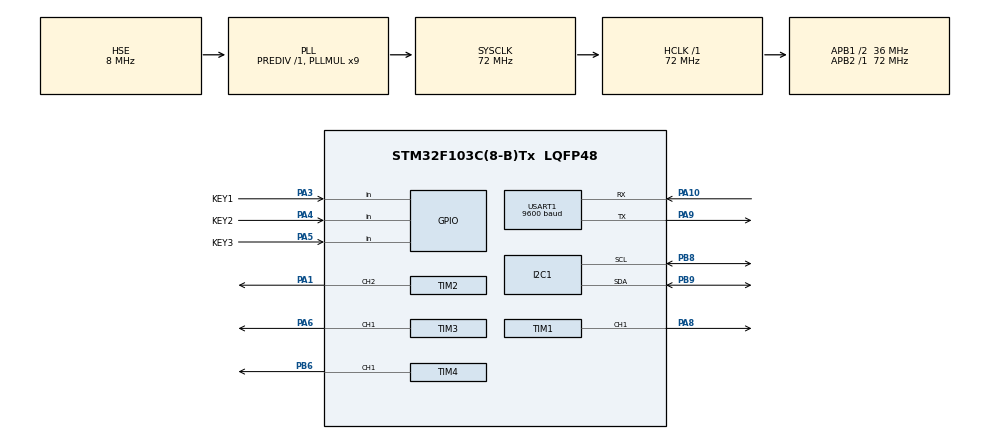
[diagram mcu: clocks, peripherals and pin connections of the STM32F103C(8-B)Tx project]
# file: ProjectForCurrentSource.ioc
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Mcu.Family=STM32F1
Mcu.Name=STM32F103C(8-B)Tx
Mcu.Package=LQFP48
NVIC.PriorityGroup=NVIC_PRIORITYGROUP_4
NVIC.TIM2_IRQn=true\:0\:0\:false\:false\:true\:true\:true\:true
NVIC.USART1_IRQn=true\:0\:0\:false\:false\:true\:true\:true\:true
PA1.Signal=S_TIM2_CH2
PA10.Mode=Asynchronous
PA10.Signal=USART1_RX
PA13.Mode=Serial_Wire
PA13.Signal=SYS_JTMS-SWDIO
PA14.Mode=Serial_Wire
PA14.Signal=SYS_JTCK-SWCLK
PA3.GPIO_Label=KEY1
PA3.GPIO_PuPd=GPIO_PULLDOWN
PA3.Signal=GPIO_Input
PA4.GPIO_Label=KEY2
PA4.GPIO_PuPd=GPIO_PULLDOWN
PA4.Signal=GPIO_Input
PA5.GPIO_Label=KEY3
PA5.GPIO_PuPd=GPIO_PULLDOWN
PA5.Signal=GPIO_Input
PA6.Signal=S_TIM3_CH1
PA8.Signal=S_TIM1_CH1
PA9.Mode=Asynchronous
PA9.Signal=USART1_TX
PB6.Signal=S_TIM4_CH1
PB8.Mode=I2C
PB8.Signal=I2C1_SCL
PB9.Mode=I2C
PB9.Signal=I2C1_SDA
PD0-OSC_IN.Mode=HSE-External-Oscillator
PD0-OSC_IN.Signal=RCC_OSC_IN
PD1-OSC_OUT.Mode=HSE-External-Oscillator
PD1-OSC_OUT.Signal=RCC_OSC_OUT
ProjectManager.HeapSize=0x200
ProjectManager.StackSize=0x400
ProjectManager.TargetToolchain=MDK-ARM V5.32
RCC.AHBFreq_Value=72000000
RCC.APB1CLKDivider=RCC_HCLK_DIV2
RCC.APB1Freq_Value=36000000
RCC.APB1TimFreq_Value=72000000
RCC.APB2Freq_Value=72000000
RCC.APB2TimFreq_Value=72000000
RCC.HCLKFreq_Value=72000000
RCC.PLLMUL=RCC_PLL_MUL9
RCC.PLLSourceVirtual=RCC_PLLSOURCE_HSE
RCC.SYSCLKFreq_VALUE=72000000
RCC.SYSCLKSource=RCC_SYSCLKSOURCE_PLLCLK
RCC.USBFreq_Value=72000000
SH.S_TIM1_CH1.0=TIM1_CH1,PWM Generation1 CH1
SH.S_TIM2_CH2.0=TIM2_CH2,PWM Generation2 CH2
SH.S_TIM3_CH1.0=TIM3_CH1,PWM Generation1 CH1
SH.S_TIM4_CH1.0=TIM4_CH1,PWM Generation1 CH1
TIM1.Channel-PWM\ Generation1\ CH1=TIM_CHANNEL_1
TIM1.Period=100-1
TIM1.Prescaler=720-1
TIM2.Channel-PWM\ Generation2\ CH2=TIM_CHANNEL_2
TIM2.Period=100-1
TIM2.Prescaler=720-1
TIM3.Channel-PWM\ Generation1\ CH1=TIM_CHANNEL_1
TIM3.Period=100-1
TIM3.Prescaler=720-1
TIM4.Channel-PWM\ Generation1\ CH1=TIM_CHANNEL_1
TIM4.Period=100-1
TIM4.Prescaler=720-1
USART1.BaudRate=9600
USART1.VirtualMode=VM_ASYNC
VP_TIM1_VS_ClockSourceINT.Mode=Internal
VP_TIM2_VS_ClockSourceINT.Mode=Internal
VP_TIM3_VS_ClockSourceINT.Mode=Internal
VP_TIM4_VS_ClockSourceINT.Mode=Internal
board=custom

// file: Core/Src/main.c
/* USER CODE BEGIN Header */
/**
  ******************************************************************************
  * @file           : main.c
  * @brief          : Main program body
  ******************************************************************************
  * @attention
  *
  * Copyright (c) 2025 STMicroelectronics.
  * All rights reserved.
  *
  * This software is licensed under terms that can be found in the LICENSE file
  * in the root directory of this software component.
  * If no LICENSE file comes with this software, it is provided AS-IS.
  *
  ******************************************************************************
  */
/* USER CODE END Header */
#include "main.h"
#include "i2c.h"
#include "tim.h"
#include "usart.h"
#include "gpio.h"

/* USER CODE BEGIN Includes */
#include "oled.h"
#include "stdio.h"
#include <string.h>
#include "flash_storage.h"
/* USER CODE END Includes */

/* USER CODE BEGIN PTD */
typedef struct {
    uint8_t modeFlag;             // 电流/电压模式�??0=电流�??1=电压
    uint8_t channelFlag;          // 当前选择的�?�道�??0~3表示�??1到第4个�?�道
    uint8_t inSettingsPage;       // 是否在设置页面，0：不在，1：在设置页面
    uint8_t settingFlag;          // 当前高亮设置项，0:电流/电压切换�??1:电流/电压值，2:PWM频率�??3:PWM占空比，4:满量程补�??
		uint8_t isSettingFlag;
} UIState_t;

typedef struct {
    uint8_t mode;                     // 电流/电压模式
    uint16_t current_value;           // 电流�?? (对应A)
    uint16_t voltage_value;           // 电压�??
    uint16_t pwm_frequency;           // PWM频率
    uint8_t pwm_duty_cycle;           // PWM占空�??
    uint16_t full_scale_A; // 满量程补�?? (对应C)
		uint16_t full_scale_V;
    uint16_t zero_offset_A;           // 电流零点偏移
    uint16_t zero_offset_V;           // 电压零点偏移
    uint8_t status;                   // 通道连接状�??
} Channel_t;

extern UIState_t uiState;  // 定义UI状�?�结构体实例
/* USER CODE END PTD */

/* USER CODE BEGIN PD */
#define LONG_PRESS_TIME 10  // 长按判定时间（ms�??
#define REPEAT_RATE     50   // 连续加减的频率（ms�??
#define TURBO_PRESS_TIME 40
#define RX_BUFFER_SIZE 64
#define MIN_CURRENT   0   // �??小电�??
#define MAX_CURRENT   400 // �??大电�??
#define MIN_VOLTAGE   0   // �??小电�??
#define MAX_VOLTAGE   500  // �??大电�??
#define MIN_PWM_FREQ  1   // �??小PWM频率
#define MAX_PWM_FREQ  100 // �??大PWM频率
#define MIN_DUTY       0   // �??小PWM占空�??
#define MAX_DUTY      100  // �??大PWM占空�??
#define MIN_ZERO_OFFSET 0   // 最小零点偏移
#define MAX_ZERO_OFFSET 200 // 最大零点偏移
#define DEFAULT_DEVICE_ID 1 // 默认设备ID
#define MAX_DEVICE_ID 99    // 最大设备ID
/* USER CODE END PD */

/* USER CODE BEGIN PV */
volatile uint8_t key_state1 = 0;
volatile uint32_t key_press_time1 = 0;
volatile uint8_t key_state2 = 0;
volatile uint32_t key_press_time2 = 0;
volatile uint8_t key_state3 = 0;
volatile uint32_t key_press_time3 = 0;
volatile uint8_t set_current_flag = 0;  // 标志位，标记是否�??要执行电流设�??

volatile uint8_t uart_cmd_ready = 0;
char uart_cmd_buffer[RX_BUFFER_SIZE];

uint8_t modeFlag = 0;
uint8_t channelFlag = 0;

uint8_t repeat_flag1 = 0;  // KEY1 是否进入连续减状�??
uint8_t repeat_flag2 = 0;  // KEY2 是否进入连续加状�??
uint8_t calibrationFlag = 0;
uint16_t A[4] = {440,446,456,454};
uint16_t V[4] = {1005,1005,1005,1005};
uint16_t C[4] = {4000,4000,4000,4000};
uint8_t channel_connected[4] = {0, 0, 0, 0};

uint8_t rx_buffer[RX_BUFFER_SIZE];
uint8_t rx_index = 0;

uint32_t last_key_check = 0;

uint8_t buffer[3];

Channel_t channels[4];  // 四路通道
UIState_t uiState; // UI状态实例
uint8_t deviceID = DEFAULT_DEVICE_ID;  // 设备ID

// 多点校准相关变量
uint8_t inCalibPage = 0;           // 是否在校准页面
uint8_t calibPointIndex = 0;       // 当前校准点索引 (0-8)
uint16_t calibInputValue = 0;      // 用户输入的测量值 (以100为基数)
uint16_t multiCalibData[4][CALIB_POINTS_NUM];  // 4通道9点校准数据
uint8_t multiCalibEnabled[4] = {0, 0, 0, 0};   // 多点校准是否启用
// 校准点目标值 (以100为基数): 0, 50, 100, 150, 200, 250, 300, 350, 400 (对应0~4mA)
const uint16_t calibTargetValues[CALIB_POINTS_NUM] = {0, 50, 100, 150, 200, 250, 300, 350, 400};
/* USER CODE END PV */

void SystemClock_Config(void);
/* USER CODE BEGIN PFP */
void showUI(void);
void Check_I2C_Devices(void);
void Send_System_Params(void);
void ParseCommand(char *cmd);
void KeyScan(void);
void SetGP(void);
void initChannels(void);
// 设置电流
void setCurrent(void);
// 设置电压
void setVoltage(void);
// 设置PWM频率
void setPWMFrequency(void);
// 设置PWM占空�??
void setPWMDutyCycle(void);
// 设置满量程补�??
void setFullScaleCompensation(void);
// 设置电流/电压模式
void setMode(void);
// 设置通道状�?�（设备连接状�?�）
void setChannelStatus(void);
void initUIState(void);
void showSettingsPage(void);
void SaveCalibrationToFlash(void);
void LoadCalibrationFromFlash(void);
// 多点校准相关函数
void showCalibrationPage(void);
void initMultiCalibData(void);
void setCurrentWithCalib(void);  // 使用多点校准的电流输出
void outputCalibPoint(uint8_t pointIndex);  // 输出校准点
static uint16_t CalculateCurrentDacCodeLinear(uint8_t ch, uint16_t targetValue);
static void SanitizeMultiCalibChannel(uint8_t ch);
static uint8_t FindCalibrationSegment(uint8_t ch, uint16_t targetValue);
static uint16_t GetLongPressStep(uint32_t pressTime, uint16_t normalStep, uint16_t turboStep);
static HAL_StatusTypeDef GP8630_WriteFrame(uint8_t ch, const uint8_t *data, uint16_t size);
/* USER CODE END PFP */

int main(void)
{

  /* MCU Configuration--------------------------------------------------------*/

  /* Reset of all peripherals, Initializes the Flash interface and the Systick. */
  HAL_Init();

  /* Configure the system clock */
  SystemClock_Config();

  /* Initialize all configured peripherals */
  MX_GPIO_Init();
  MX_USART1_UART_Init();
  MX_I2C1_Init();
  MX_TIM2_Init();
  MX_TIM1_Init();
  MX_TIM3_Init();
  MX_TIM4_Init();
  /* USER CODE BEGIN 2 */
	initChannels();
	LoadCalibrationFromFlash();  // 从Flash加载校准数据（覆盖默认值）
	initUIState();
	Check_I2C_Devices();
	HAL_Delay(500);
	OLED_Init();
	  HAL_TIM_Base_Start_IT(&htim2);

  HAL_TIM_PWM_Start(&htim1, TIM_CHANNEL_1);
        HAL_TIM_PWM_Start(&htim2, TIM_CHANNEL_2);
        HAL_TIM_PWM_Start(&htim3, TIM_CHANNEL_1);
        HAL_TIM_PWM_Start(&htim4, TIM_CHANNEL_1);

        // 为所有通道配置PWM参数，确保PWM正确初始化
        for (uint8_t i = 0; i < 4; i++) {
            uiState.channelFlag = i;
            setPWMFrequency();
            setPWMDutyCycle();
        }
        uiState.channelFlag = 0; // 恢复默认通道
//	Send_System_Params();

	HAL_UART_Receive_IT(&huart1, &rx_buffer[rx_index], 1);
  /* USER CODE END 2 */

  /* Infinite loop */
  while (1)
  {

    /* USER CODE BEGIN 3 */
		OLED_Update();
		OLED_Clear();
		if (HAL_GetTick() - last_key_check >= 100) {
            last_key_check = HAL_GetTick();

            // 判断当前页面
            if (inCalibPage) {
                showCalibrationPage();  // 显示校准页面
            }
            else if (uiState.inSettingsPage) {
                showSettingsPage();  // 显示设置页面
            }
            else {
                showUI();  // 显示主页面
            }

        KeyScan();  // 手动扫描按键状濿
        }

        // 按键扫描
        KeyScan();  // 手动扫描按键状�??
				if (uart_cmd_ready) {
						uart_cmd_ready = 0;
						ParseCommand(uart_cmd_buffer);  // 在主循环中执行，安全
				}

        // 根据�??要设置输出参�??
        if (set_current_flag == 1) {
            SetGP();
            set_current_flag = 0;
        }

  }
  /* USER CODE END 3 */
}

void SystemClock_Config(void)
{
  RCC_OscInitTypeDef RCC_OscInitStruct = {0};
  RCC_ClkInitTypeDef RCC_ClkInitStruct = {0};

  /** Initializes the RCC Oscillators according to the specified parameters
  * in the RCC_OscInitTypeDef structure.
  */
  RCC_OscInitStruct.OscillatorType = RCC_OSCILLATORTYPE_HSE;
  RCC_OscInitStruct.HSEState = RCC_HSE_ON;
  RCC_OscInitStruct.HSEPredivValue = RCC_HSE_PREDIV_DIV1;
  RCC_OscInitStruct.HSIState = RCC_HSI_ON;
  RCC_OscInitStruct.PLL.PLLState = RCC_PLL_ON;
  RCC_OscInitStruct.PLL.PLLSource = RCC_PLLSOURCE_HSE;
  RCC_OscInitStruct.PLL.PLLMUL = RCC_PLL_MUL9;
  if (HAL_RCC_OscConfig(&RCC_OscInitStruct) != HAL_OK)
  {
    Error_Handler();
  }

  /** Initializes the CPU, AHB and APB buses clocks
  */
  RCC_ClkInitStruct.ClockType = RCC_CLOCKTYPE_HCLK|RCC_CLOCKTYPE_SYSCLK
                              |RCC_CLOCKTYPE_PCLK1|RCC_CLOCKTYPE_PCLK2;
  RCC_ClkInitStruct.SYSCLKSource = RCC_SYSCLKSOURCE_PLLCLK;
  RCC_ClkInitStruct.AHBCLKDivider = RCC_SYSCLK_DIV1;
  RCC_ClkInitStruct.APB1CLKDivider = RCC_HCLK_DIV2;
  RCC_ClkInitStruct.APB2CLKDivider = RCC_HCLK_DIV1;

  if (HAL_RCC_ClockConfig(&RCC_ClkInitStruct, FLASH_LATENCY_2) != HAL_OK)
  {
    Error_Handler();
  }
}

/* USER CODE BEGIN 4 */
static uint16_t CalculateCurrentDacCodeLinear(uint8_t ch, uint16_t targetValue) {
    float fullS = channels[ch].full_scale_A / 10.0f;
    float zeroOffset = channels[ch].zero_offset_A / 10.0f;
    float adjustedValue = targetValue;

    if (fullS <= 0.0f) {
        fullS = 400.0f;
    }

    if (adjustedValue >= zeroOffset) {
        adjustedValue -= zeroOffset;
    } else {
        adjustedValue = 0.0f;
    }

    if (adjustedValue > fullS) {
        adjustedValue = fullS;
    }

    return (uint16_t)((adjustedValue / fullS) * 0xFFFF);
}

static void SanitizeMultiCalibChannel(uint8_t ch) {
    if (ch >= 4) {
        return;
    }

    for (uint8_t i = 1; i < CALIB_POINTS_NUM; i++) {
        if (multiCalibData[ch][i] < multiCalibData[ch][i - 1]) {
            multiCalibData[ch][i] = multiCalibData[ch][i - 1];
        }
    }
}

static uint8_t FindCalibrationSegment(uint8_t ch, uint16_t targetValue) {
    uint8_t bestIdx = 0;
    uint16_t bestDistance = 0xFFFF;

    for (uint8_t i = 0; i < CALIB_POINTS_NUM - 1; i++) {
        uint16_t p1 = multiCalibData[ch][i];
        uint16_t p2 = multiCalibData[ch][i + 1];
        uint16_t low = (p1 < p2) ? p1 : p2;
        uint16_t high = (p1 > p2) ? p1 : p2;
        uint16_t distance;

        if (targetValue >= low && targetValue <= high) {
            return i;
        }

        distance = (targetValue < low) ? (low - targetValue) : (targetValue - high);
        if (distance < bestDistance) {
            bestDistance = distance;
            bestIdx = i;
        }
    }

    return bestIdx;
}

static uint16_t GetLongPressStep(uint32_t pressTime, uint16_t normalStep, uint16_t turboStep) {
    if (pressTime >= TURBO_PRESS_TIME) {
        return turboStep;
    }

    return normalStep;
}

void initUIState(void) {
    uiState.modeFlag = 0;            // 默认电流模式
    uiState.channelFlag = 0;         // 默认选择通道1
    uiState.inSettingsPage = 0;      // 默认不在设置页面
    uiState.settingFlag = 0;         // 默认选中电流/电压切换
	  uiState.isSettingFlag = 0;
}
void initChannels(void) {
    for (uint8_t i = 0; i < 4; i++) {
        channels[i].mode = 0;  // 默认模式为电流模�??
        channels[i].current_value = 0;  // 默认电流�??
        channels[i].voltage_value = 0;   // 默认电压�??
        channels[i].pwm_frequency = 100;  // 默认PWM频率
        channels[i].pwm_duty_cycle = 100;   // 默认占空�??
        channels[i].full_scale_A = 4000;  // 默认满量程补偿 (对应4mA)
        channels[i].full_scale_V = 10000; // 默认满量程补偿 (对应芯片10V满量程)
        channels[i].zero_offset_A = 0;    // 默认电流零点偏移
        channels[i].zero_offset_V = 0;    // 默认电压零点偏移
        channels[i].status = 0;  // 初始状�?�未连接
    }
}

static HAL_StatusTypeDef GP8630_WriteFrame(uint8_t ch, const uint8_t *data, uint16_t size) {
    HAL_StatusTypeDef status = HAL_ERROR;

    for (uint8_t retry = 0; retry < 3; retry++) {
        status = HAL_I2C_Master_Transmit(&hi2c1, (0x58 + ch) << 1, (uint8_t *)data, size, HAL_MAX_DELAY);
        if (status == HAL_OK) {
            return HAL_OK;
        }
        HAL_Delay(2);
    }

    return status;
}

void setCurrent(void) {
    uint8_t ch = uiState.channelFlag;
    uint16_t targetValue = channels[ch].current_value;  // 目标电流值 (以100为基数)

    {
        uint16_t improvedData;
        uint8_t txBuffer[3];

        if (multiCalibEnabled[ch]) {
            uint8_t idx;
            float t1;
            float t2;
            float m1;
            float m2;
            float dacOutput;

            SanitizeMultiCalibChannel(ch);
            idx = FindCalibrationSegment(ch, targetValue);
            t1 = calibTargetValues[idx];
            t2 = calibTargetValues[idx + 1];
            m1 = multiCalibData[ch][idx];
            m2 = multiCalibData[ch][idx + 1];

            if ((m2 - m1 > 0.001f) || (m1 - m2 > 0.001f)) {
                dacOutput = t1 + (targetValue - m1) * (t2 - t1) / (m2 - m1);
                if (dacOutput < 0.0f) {
                    dacOutput = 0.0f;
                }
                if (dacOutput > 400.0f) {
                    dacOutput = 400.0f;
                }
                improvedData = (uint16_t)((dacOutput / 400.0f) * 0xFFFF);
            } else {
                improvedData = CalculateCurrentDacCodeLinear(ch, targetValue);
            }
        } else {
            improvedData = CalculateCurrentDacCodeLinear(ch, targetValue);
        }

        txBuffer[0] = 0x02;
        txBuffer[1] = improvedData & 0xFF;
        txBuffer[2] = (improvedData >> 8) & 0xFF;
        GP8630_WriteFrame(ch, txBuffer, 3);
        return;
    }

#if 0

    // 如果启用了多点校准，使用插值补偿
    if (multiCalibEnabled[ch]) {
        // 在实测值序列中找到targetValue所在的区间
        uint8_t idx = 0;
        for (uint8_t i = 0; i < CALIB_POINTS_NUM - 1; i++) {
            if (targetValue >= multiCalibData[ch][i] && targetValue <= multiCalibData[ch][i + 1]) {
                idx = i;
                break;
            }
            if (i == CALIB_POINTS_NUM - 2) {
                // 如果超出范围，使用最后一个区间
                if (targetValue > multiCalibData[ch][CALIB_POINTS_NUM - 1]) {
                    idx = CALIB_POINTS_NUM - 2;
                } else if (targetValue < multiCalibData[ch][0]) {
                    idx = 0;
                }
            }
        }

        // 校准数据含义：当DAC输出calibTargetValues[i]时，实测为multiCalibData[ch][i]
        // 现在要输出targetValue（期望实际电流），反向计算需要的DAC值
        float t1 = calibTargetValues[idx];      // 区间起点DAC目标值
        float t2 = calibTargetValues[idx + 1];  // 区间终点DAC目标值
        float m1 = multiCalibData[ch][idx];     // 区间起点实测值
        float m2 = multiCalibData[ch][idx + 1]; // 区间终点实测值

        // 反向插值：从期望实测值targetValue，求对应的DAC输出值
        // (targetValue - m1) / (m2 - m1) = (dacOutput - t1) / (t2 - t1)
        float dacOutput;
        if (m2 != m1) {
            dacOutput = t1 + (targetValue - m1) * (t2 - t1) / (m2 - m1);
        } else {
            dacOutput = t1;
        }

        // 限制范围
        if (dacOutput < 0) dacOutput = 0;
        if (dacOutput > 400) dacOutput = 400;

        // 转换为DAC值 (满量程4mA = 400)
        data = (uint16_t)((dacOutput / 400.0f) * 0xFFFF);
    } else {
        // 未启用多点校准，使用原来的CZ补偿
        float value = targetValue;
        float fullS = channels[ch].full_scale_A / 10.0f;
        float zeroOffset = channels[ch].zero_offset_A / 10.0f;

        float adjustedValue = value;
        if (adjustedValue >= zeroOffset) {
            adjustedValue = adjustedValue - zeroOffset;
        } else {
            adjustedValue = 0;
        }
        data = (uint16_t)((adjustedValue / fullS) * 0xFFFF);
    }

    uint8_t buffer2[3];
    buffer2[0] = 0x02;
    buffer2[1] = data & 0xFF;
    buffer2[2] = (data >> 8) & 0xFF;

    HAL_I2C_Master_Transmit(&hi2c1, (0x58 + ch) << 1, buffer2, 3, HAL_MAX_DELAY);
#endif
}

void setVoltage(void) {
    float value = channels[uiState.channelFlag].voltage_value;
    float fullS = channels[uiState.channelFlag].full_scale_V / 10.0f;  // 转换为与value同基数(100)
    float zeroOffset = channels[uiState.channelFlag].zero_offset_V / 10.0f;  // 转换为与value同基数(100)
    // 应用零点偏移：实际输出 = 设定值 - 零点偏移（补偿正偏移）
    float adjustedValue = value;
    if (adjustedValue >= zeroOffset) {
        adjustedValue = adjustedValue - zeroOffset;
    } else {
        adjustedValue = 0;  // 防止负值
    }
    uint16_t data = (uint16_t)((adjustedValue / fullS) * 0xFFFF);

    // 发�?�第二条指令：带数据部分
    uint8_t buffer2[3];
    buffer2[0] = 0x02;               // 控制命令地址
    buffer2[1] = data & 0xFF;        // DATA Low
    buffer2[2] = (data >> 8) & 0xFF; // DATA High

    GP8630_WriteFrame(uiState.channelFlag, buffer2, 3);

}

void setPWMFrequency(void) {
      uint8_t ch = uiState.channelFlag;

      if (ch > 3) return;  // 防止数组越界

      float duty = channels[ch].pwm_duty_cycle;
      uint32_t freq = channels[ch].pwm_frequency;

      // 限制输入范围
      if (duty < 0.0f) duty = 0.0f;
      if (duty > 100.0f) duty = 100.0f;
      if (freq < 1) freq = 1;
      if (freq > 100) freq = 100;

      // 固定预分频：7200分频 => 定时器时钟为10kHz
      const uint32_t prescaler = 7199;
      const uint32_t timer_clk = 72000000;
      const uint32_t arr = (timer_clk / (prescaler + 1)) / freq - 1;
      const uint32_t ccr = (uint32_t)((arr + 1) * (duty / 100.0f));

      switch (ch)
      {
          case 0:
              htim1.Init.Prescaler = prescaler;
              htim1.Init.Period = arr;
              __HAL_TIM_SET_PRESCALER(&htim1, prescaler);
              __HAL_TIM_SET_AUTORELOAD(&htim1, arr);
              __HAL_TIM_SET_COMPARE(&htim1, TIM_CHANNEL_1, ccr);
              htim1.Instance->EGR = TIM_EGR_UG;
              break;

          case 1:
              htim2.Init.Prescaler = prescaler;
              htim2.Init.Period = arr;
              __HAL_TIM_SET_PRESCALER(&htim2, prescaler);
              __HAL_TIM_SET_AUTORELOAD(&htim2, arr);
              __HAL_TIM_SET_COMPARE(&htim2, TIM_CHANNEL_2, ccr);
              htim2.Instance->EGR = TIM_EGR_UG;
              break;

          case 2:
              htim3.Init.Prescaler = prescaler;
              htim3.Init.Period = arr;
              __HAL_TIM_SET_PRESCALER(&htim3, prescaler);
              __HAL_TIM_SET_AUTORELOAD(&htim3, arr);
              __HAL_TIM_SET_COMPARE(&htim3, TIM_CHANNEL_1, ccr);
              htim3.Instance->EGR = TIM_EGR_UG;
              break;

          case 3:
              htim4.Init.Prescaler = prescaler;
              htim4.Init.Period = arr;
              __HAL_TIM_SET_PRESCALER(&htim4, prescaler);
              __HAL_TIM_SET_AUTORELOAD(&htim4, arr);
              __HAL_TIM_SET_COMPARE(&htim4, TIM_CHANNEL_1, ccr);
              htim4.Instance->EGR = TIM_EGR_UG;
              break;

          default:
              break;
      }
  }

void setPWMDutyCycle(void) {
    uint8_t ch = uiState.channelFlag;
    if (ch > 3) return;  // 防止越界

    float duty = channels[ch].pwm_duty_cycle;
    if (duty < 0.0f) duty = 0.0f;
    if (duty > 100.0f) duty = 100.0f;

    TIM_HandleTypeDef *htim;
    uint32_t tim_channel;

    switch (ch) {
        case 0: htim = &htim1; tim_channel = TIM_CHANNEL_1; break;
        case 1: htim = &htim2; tim_channel = TIM_CHANNEL_2; break;
        case 2: htim = &htim3; tim_channel = TIM_CHANNEL_1; break;
        case 3: htim = &htim4; tim_channel = TIM_CHANNEL_1; break;
        default: return;
    }

    uint32_t ccr;
    if (duty < 100.0f) {
        ccr = (uint32_t)(htim->Init.Period * duty / 100.0f);
    } else {
        ccr = htim->Init.Period + 1;  // 超过ARR，确保输出高电平
    }

    __HAL_TIM_SET_COMPARE(htim, tim_channel, ccr);
}
void setFullScaleCompensation(void) {
    uint8_t buffer2[3];
    buffer2[0] = 0x02;               // 控制命令地址
    buffer2[1] = 0xFF;        // DATA Low
    buffer2[2] = 0xFF; // DATA High

    GP8630_WriteFrame(uiState.channelFlag, buffer2, 3);
}

void setMode(void) {
    if(channels[uiState.channelFlag].mode){
					buffer[0] = 0x01;           // 控制命令地址
					buffer[1] = 0x1C;           // 命令高位
					if (GP8630_WriteFrame(uiState.channelFlag, buffer, 2) != HAL_OK) return;

					HAL_Delay(2);
					setVoltage();
		}
		else{
					buffer[0] = 0x01;           // 控制命令地址
					buffer[1] = 0x24;           // 命令高位
					if (GP8630_WriteFrame(uiState.channelFlag, buffer, 2) != HAL_OK) return;

					HAL_Delay(2);
					setCurrent();
		}
}

void setChannelStatus(void) {

}
void showSettingsPage(void) {
    char str[50];
    OLED_Clear();

    uint8_t ch = uiState.channelFlag;  // 获取当前选中的�?�道

    // 第一行：显示当前选择的�?�道数字
    sprintf(str, "Ch%d Settings Back", ch + 1);
    OLED_ShowString(1, 0, str, 6);
		if (uiState.settingFlag == 0){
			OLED_ReverseArea(1, 0, 100, 8);
		}
    // 第二行：显示电流/电压输出模式，并允许按键切换
    if (uiState.settingFlag == 1) {
        if (channels[ch].mode == 0) {
            sprintf(str, "Mode: Current");
        } else {
            sprintf(str, "Mode: Voltage");
        }
        OLED_ShowString(1, 10, str, 6);
				if(uiState.isSettingFlag)
					OLED_ReverseArea(35, 10, 45, 8);  // 高亮显示当前设置�??
				else
					OLED_ReverseArea(1, 10, 30, 8);  // 高亮显示当前设置�??
    } else {
        if (channels[ch].mode == 0) {
            sprintf(str, "Mode: Current");
        } else {
            sprintf(str, "Mode: Voltage");
        }
        OLED_ShowString(1, 10, str, 6);
    }

    // 第三行：显示当前的电流或电压输出�??
    if (uiState.settingFlag == 2) {
        if (channels[ch].mode == 0) {  // 电流模式
            sprintf(str, "I: %.2fmA", (float)channels[ch].current_value / 100);
        } else {  // 电压模式
            sprintf(str, "V: %.2fV", (float)channels[ch].voltage_value / 100);
        }
        OLED_ShowString(1, 20, str, 6);
				if(uiState.isSettingFlag)
					OLED_ReverseArea(17, 20, 42, 8);  // 高亮显示当前设置�??
				else
					OLED_ReverseArea(1, 20, 15, 8);  // 高亮显示当前设置�??
    } else {
        if (channels[ch].mode == 0) {  // 电流模式
            sprintf(str, "I: %.2fmA", (float)channels[ch].current_value / 100);
        } else {  // 电压模式
            sprintf(str, "V: %.2fV", (float)channels[ch].voltage_value / 100);
        }
        OLED_ShowString(1, 20, str, 6);
    }

    // 第四行：PWM频率设置
    if (uiState.settingFlag == 3) {
        sprintf(str, "PWM Freq: %dHz", channels[ch].pwm_frequency);
        OLED_ShowString(1, 30, str, 6);
			if(uiState.isSettingFlag)
        OLED_ReverseArea(60, 30, 40, 8);  // 高亮显示当前设置�??
			else
        OLED_ReverseArea(1, 30, 55, 8);  // 高亮显示当前设置�??
    } else {
        sprintf(str, "PWM Freq: %dHz", channels[ch].pwm_frequency);
        OLED_ShowString(1, 30, str, 6);
    }

    // 第五行：PWM占空比设�??
    if (uiState.settingFlag == 4) {
        sprintf(str, "PWM Duty: %d%%", channels[ch].pwm_duty_cycle);
        OLED_ShowString(1, 40, str, 6);
				if(uiState.isSettingFlag)
					OLED_ReverseArea(60, 40, 20, 8);  // 高亮显示当前设置�??
				else
					OLED_ReverseArea(1, 40, 55, 8);  // 高亮显示当前设置�??
    } else {
        sprintf(str, "PWM Duty: %d%%", channels[ch].pwm_duty_cycle);
        OLED_ShowString(1, 40, str, 6);
    }

    // 第六行：电流模式显示Calib入口，电压模式显示C和Z
    if(channels[ch].mode == 0) {
        // 电流模式：显示多点校准入口
        sprintf(str, "Calib %s", multiCalibEnabled[ch] ? "[ON]" : "[OFF]");
        OLED_ShowString(1, 50, str, 6);
        if (uiState.settingFlag == 5) {
            OLED_ReverseArea(1, 50, 75, 8);
        }
    } else {
        // 电压模式：显示C和Z
        sprintf(str, "C:%.3f Z:%.3f", (float)channels[ch].full_scale_V / 1000, (float)channels[ch].zero_offset_V / 1000);
        OLED_ShowString(1, 50, str, 6);
        if (uiState.settingFlag == 5) {  // 满量程校准
            if(uiState.isSettingFlag)
                OLED_ReverseArea(13, 50, 30, 8);
            else
                OLED_ReverseArea(1, 50, 10, 8);
        } else if (uiState.settingFlag == 6) {  // 零点偏移
            if(uiState.isSettingFlag)
                OLED_ReverseArea(58, 50, 35, 8);
            else
                OLED_ReverseArea(46, 50, 10, 8);
        }
    }

    OLED_Update();
}

// 初始化多点校准数据为默认值
void initMultiCalibData(void) {
    for (uint8_t ch = 0; ch < 4; ch++) {
        for (uint8_t i = 0; i < CALIB_POINTS_NUM; i++) {
            // 默认值等于目标值（无补偿）
            multiCalibData[ch][i] = calibTargetValues[i];
        }
        multiCalibEnabled[ch] = 0;
    }
}

// 输出校准点（直接输出DAC值，不经过补偿）
void outputCalibPoint(uint8_t pointIndex) {
    if (pointIndex >= CALIB_POINTS_NUM) return;

    // 计算DAC输出值：目标值 / 满量程(4mA=400) * 0xFFFF
    uint16_t targetValue = calibTargetValues[pointIndex];
    uint16_t data = (uint16_t)((float)targetValue / 400.0f * 0xFFFF);

    uint8_t buffer2[3];
    buffer2[0] = 0x02;
    buffer2[1] = data & 0xFF;
    buffer2[2] = (data >> 8) & 0xFF;

    HAL_I2C_Master_Transmit(&hi2c1, (0x58 + uiState.channelFlag) << 1, buffer2, 3, HAL_MAX_DELAY);
}

// 显示多点校准页面
void showCalibrationPage(void) {
    char str[50];
    OLED_Clear();

    uint8_t ch = uiState.channelFlag;

    // 第一行：标题
    sprintf(str, "Ch%d Calibration", ch + 1);
    OLED_ShowString(1, 0, str, 6);

    // 第二行：当前校准点
    sprintf(str, "Point %d/%d", calibPointIndex + 1, CALIB_POINTS_NUM);
    OLED_ShowString(1, 12, str, 6);

    // 第三行：目标输出值
    sprintf(str, "Target: %.2fmA", (float)calibTargetValues[calibPointIndex] / 100.0f);
    OLED_ShowString(1, 24, str, 6);

    // 第四行：用户输入的实际测量值
    sprintf(str, "Actual: %.2fmA", (float)calibInputValue / 100.0f);
    OLED_ShowString(1, 36, str, 6);
    OLED_ReverseArea(43, 36, 50, 8);  // 高亮输入值

    // 第五行：操作提示
    OLED_ShowString(1, 50, "K1+K2:Adj K3:Next", 6);

    OLED_Update();
}

void showUI(void) {
    char str[50];  // 分配足够的存储空间
    OLED_Clear();
    memset(str, 0, sizeof(str));

    // 第一行：显示四个芯片状态和设备ID
    strcpy(str, "C1  C2  C3  C4");
    for (uint8_t i = 0; i < 4; i++) {
        if (channels[i].status) {
            str[2 + i * 4] = 96 + 32;  // 设备连接时显示对勾符号
        } else {
            str[2 + i * 4] = 95 + 32;  // 设备未连接时显示叉号符号
        }
    }
    OLED_ShowString(1, 0, str, 6);
    // 在右侧显示设备ID
    sprintf(str, "#%02d", deviceID);
    OLED_ShowString(110, 0, str, 6);

    // 第二到五行：显示当前通道的电流或电压输出�??
    for (uint8_t i = 0; i < 4; i++) {
        if (channels[i].mode == 0) {  // 电流模式
            sprintf(str, "Ch%d: %.2fmA", i + 1, (float)channels[i].current_value / 100);
        } else {  // 电压模式
            sprintf(str, "Ch%d: %.2fV", i + 1, (float)channels[i].voltage_value / 100);
        }
        OLED_ShowString(1, 10 + (i * 10), str, 6);
    }

    // 高亮显示当前选中的�?�道
    OLED_ReverseArea(1, 10 + (uiState.channelFlag * 10), 67, 8);

    OLED_Update();
}

void HAL_UART_RxCpltCallback(UART_HandleTypeDef *huart) {
    if (huart->Instance == USART1) {
        char c = rx_buffer[rx_index];

        if (c == '\n') {
            rx_buffer[rx_index] = '\0';
            if (rx_index > 0 && rx_buffer[rx_index - 1] == '\r') {
                rx_buffer[rx_index - 1] = '\0';
            }

            // 拷贝命令
            strcpy((char *)uart_cmd_buffer, (char *)rx_buffer);
            uart_cmd_ready = 1;  // 设置标志位

            rx_index = 0;
        } else {
            if (rx_index < RX_BUFFER_SIZE - 1) {
                rx_index++;
            }
        }

        HAL_UART_Receive_IT(&huart1, &rx_buffer[rx_index], 1);
    }
}

void ParseCommand(char *cmd) {
    uint8_t index;
    float value;
    char response[64];

    // 设置电流：I1=12.34
    if ((sscanf(cmd, "I%hhu=%f", &index, &value) == 2) && index >= 1 && index <= 4) {
        uint8_t ch = index - 1;
        uint16_t val = (uint16_t)(value * 100);

        if (value >= 0.0f && value <= (MAX_CURRENT / 100.0f)) {
            A[ch] = val;
            channels[ch].current_value = val;
            channels[ch].mode = 0;  // 电流模式
            uiState.channelFlag = ch;
            setMode();

            setCurrent();  // 立即应用

            snprintf(response, sizeof(response), "Set I%hhu = %.2fmA OK\r\n", index, value);
        } else {
            snprintf(response, sizeof(response), "I%hhu out of range (0~%.2fmA)\r\n", index, MAX_CURRENT / 100.0f);
        }

        HAL_UART_Transmit(&huart1, (uint8_t *)response, strlen(response), HAL_MAX_DELAY);
    }

    // 设置电压：V2=5.00
    else if ((sscanf(cmd, "V%hhu=%f", &index, &value) == 2) && index >= 1 && index <= 4) {
        uint8_t ch = index - 1;
        uint16_t val = (uint16_t)(value * 100);

        if (value >= 0.0f && value <= (MAX_VOLTAGE / 100.0f)) {
            V[ch] = val;
            channels[ch].voltage_value = val;
            channels[ch].mode = 1;  // 电压模式
            uiState.channelFlag = ch;
            setMode();
            setVoltage();

            snprintf(response, sizeof(response), "Set V%hhu = %.2fV OK\r\n", index, value);
        } else {
            snprintf(response, sizeof(response), "V%hhu out of range (0~%.2fV)\r\n", index, MAX_VOLTAGE / 100.0f);
        }

        HAL_UART_Transmit(&huart1, (uint8_t *)response, strlen(response), HAL_MAX_DELAY);
    }

    // 设置 PWM 频率：f3=500
    else if ((sscanf(cmd, "F%hhu=%f", &index, &value) == 2) && index >= 1 && index <= 4) {
        uint8_t ch = index - 1;
        uint16_t freq = (uint16_t)value;

        if (value >= (float)MIN_PWM_FREQ && value <= (float)MAX_PWM_FREQ) {
            channels[ch].pwm_frequency = freq;
            uiState.channelFlag = ch;

            setPWMFrequency();

            snprintf(response, sizeof(response), "Set f%hhu = %dHz OK\r\n", index, freq);
        } else {
            snprintf(response, sizeof(response), "Freq %dHz out of range (1~100Hz)\r\n", freq);
        }

        HAL_UART_Transmit(&huart1, (uint8_t *)response, strlen(response), HAL_MAX_DELAY);
    }

    // 设置 PWM 占空比：d4=80
    else if ((sscanf(cmd, "D%hhu=%f", &index, &value) == 2) && index >= 1 && index <= 4) {
        uint8_t ch = index - 1;
        uint8_t duty = (uint8_t)value;

        if (value >= 0.0f && value <= 100.0f) {
            channels[ch].pwm_duty_cycle = duty;
            uiState.channelFlag = ch;

            setPWMDutyCycle();

            snprintf(response, sizeof(response), "Set d%hhu = %d%% OK\r\n", index, duty);
        } else {
            snprintf(response, sizeof(response), "Duty %d%% out of range (0~100%%)\r\n", duty);
        }

        HAL_UART_Transmit(&huart1, (uint8_t *)response, strlen(response), HAL_MAX_DELAY);
    }

	 else if ((sscanf(cmd, "M%hhu=%f", &index, &value) == 2) && index >= 1 && index <= 4) {
			uint8_t ch = index - 1;
			uint8_t mode = (uint8_t)value;

			if (value == 0.0f || value == 1.0f) {
					channels[ch].mode = mode;
					uiState.channelFlag = ch;

					setMode();

					snprintf(response, sizeof(response), "Set M%hhu = %s OK\r\n", index, mode == 0 ? "Current" : "Voltage");
			} else {
					snprintf(response, sizeof(response), "Invalid mode (use 0=current, 1=voltage)\r\n");
			}

			HAL_UART_Transmit(&huart1, (uint8_t *)response, strlen(response), HAL_MAX_DELAY);
    }

    // 设置设备ID：ID=5
    else if (sscanf(cmd, "ID=%hhu", &index) == 1) {
        if (index >= 1 && index <= MAX_DEVICE_ID) {
            deviceID = index;
            SaveCalibrationToFlash();  // 保存到Flash
            snprintf(response, sizeof(response), "Set ID = %d OK\r\n", deviceID);
        } else {
            snprintf(response, sizeof(response), "ID out of range (1~%d)\r\n", MAX_DEVICE_ID);
        }
        HAL_UART_Transmit(&huart1, (uint8_t *)response, strlen(response), HAL_MAX_DELAY);
    }

    // 查询设备ID：ID?
    else if (strcmp(cmd, "ID?") == 0) {
        snprintf(response, sizeof(response), "ID = %d\r\n", deviceID);
        HAL_UART_Transmit(&huart1, (uint8_t *)response, strlen(response), HAL_MAX_DELAY);
    }

    // 错误命令
    else {
        snprintf(response, sizeof(response), "Invalid command\r\n");
        HAL_UART_Transmit(&huart1, (uint8_t *)response, strlen(response), HAL_MAX_DELAY);
    }
}

void Send_System_Params(void) {
    char buffer[100];
    int len = snprintf(buffer, sizeof(buffer),
        "I1=%.2fmA, I2=%.2fmA, I3=%.2fmA, I4=%.2fmA\r\n",
        A[0] / 100.0f, A[1] / 100.0f, A[2] / 100.0f, A[3] / 100.0f);

    HAL_UART_Transmit(&huart1, (uint8_t*)buffer, len, HAL_MAX_DELAY);
}

void KeyScan(void) {

    // KEY1 按键处理：增加当前设置项的值
    if (HAL_GPIO_ReadPin(KEY1_GPIO_Port, KEY1_Pin) == GPIO_PIN_SET) {
        if (key_state1 == 0) {
            key_state1 = 1;
            key_press_time1 = 0;
        } else {
							key_press_time1++;
							// 校准页面长按处理
							if (key_press_time1 >= LONG_PRESS_TIME && inCalibPage) {
								if (calibInputValue + GetLongPressStep(key_press_time1, 1, 5) <= 500) calibInputValue += GetLongPressStep(key_press_time1, 1, 5);  // 最大5mA
								else calibInputValue = 500;
							}
							else if (key_press_time1 >= LONG_PRESS_TIME && uiState.isSettingFlag) {
									if (uiState.settingFlag == 2) {  // 电流/电压值
											if (channels[uiState.channelFlag].mode == 0) {  // 电流模式
													if (channels[uiState.channelFlag].current_value + GetLongPressStep(key_press_time1, 1, 5) > MAX_CURRENT) {
															channels[uiState.channelFlag].current_value = 0;
													}
													else{
															channels[uiState.channelFlag].current_value += GetLongPressStep(key_press_time1, 1, 5);
													}
											} else {  // 电压模式
													if (channels[uiState.channelFlag].voltage_value + GetLongPressStep(key_press_time1, 1, 5) > MAX_VOLTAGE) {
															channels[uiState.channelFlag].voltage_value = 0;
													}
													else{
															channels[uiState.channelFlag].voltage_value += GetLongPressStep(key_press_time1, 1, 5);
													}
											}
									} else if (uiState.settingFlag == 3) {  // PWM频率
											if (channels[uiState.channelFlag].pwm_frequency + GetLongPressStep(key_press_time1, 1, 5) <= MAX_PWM_FREQ) {
													channels[uiState.channelFlag].pwm_frequency += GetLongPressStep(key_press_time1, 1, 5);  // 增加PWM频率
											}
											else
													channels[uiState.channelFlag].pwm_frequency = MIN_PWM_FREQ;  // 增加PWM频率
									} else if (uiState.settingFlag == 4) {  // PWM占空�??
											if (channels[uiState.channelFlag].pwm_duty_cycle + GetLongPressStep(key_press_time1, 1, 5) <= MAX_DUTY) {
													channels[uiState.channelFlag].pwm_duty_cycle += GetLongPressStep(key_press_time1, 1, 5);  // 增加PWM占空�??
											}
											else
													channels[uiState.channelFlag].pwm_duty_cycle = MIN_DUTY;  // 增加PWM占空�??
									}
									else if (uiState.settingFlag == 5) {
										if(channels[uiState.channelFlag].mode){
													channels[uiState.channelFlag].full_scale_V += GetLongPressStep(key_press_time1, 10, 50);
										}
										else{
													channels[uiState.channelFlag].full_scale_A += GetLongPressStep(key_press_time1, 10, 50);
										}
									}
									else if (uiState.settingFlag == 6) {  // 零点偏移
										if(channels[uiState.channelFlag].mode){
											if (channels[uiState.channelFlag].zero_offset_V + GetLongPressStep(key_press_time1, 10, 50) <= MAX_ZERO_OFFSET)
												channels[uiState.channelFlag].zero_offset_V += GetLongPressStep(key_press_time1, 10, 50);
											else
												channels[uiState.channelFlag].zero_offset_V = MIN_ZERO_OFFSET;
										}
										else{
											if (channels[uiState.channelFlag].zero_offset_A + GetLongPressStep(key_press_time1, 10, 50) <= MAX_ZERO_OFFSET)
												channels[uiState.channelFlag].zero_offset_A += GetLongPressStep(key_press_time1, 10, 50);
											else
												channels[uiState.channelFlag].zero_offset_A = MIN_ZERO_OFFSET;
										}
									}
							}
        }
    } else {
        if (key_state1 == 1) {
            // 按键松开时重置计时和状态
						if (key_press_time1 < LONG_PRESS_TIME) {
							// 校准页面短按处理
							if(inCalibPage) {
								if (calibInputValue < 500) calibInputValue += 1;
							}
							// 根据当前设置项调整值
							else if(uiState.inSettingsPage){
								if(uiState.isSettingFlag){
									if(uiState.settingFlag == 1){
										channels[uiState.channelFlag].mode = !channels[uiState.channelFlag].mode;
									}
									else if (uiState.settingFlag == 2) {
                    if (channels[uiState.channelFlag].mode == 0) {  // 电流模式
                        if (channels[uiState.channelFlag].current_value == MAX_CURRENT) {
                            channels[uiState.channelFlag].current_value = 0;
                        }
												else{
                            channels[uiState.channelFlag].current_value += 1;
												}
                    } else {  // 电压模式
                        if (channels[uiState.channelFlag].voltage_value == MAX_VOLTAGE) {
                            channels[uiState.channelFlag].voltage_value = 0;
                        }
												else{
                            channels[uiState.channelFlag].voltage_value += 1;
												}
                    }
									}
									else if (uiState.settingFlag == 3) {
											if (channels[uiState.channelFlag].pwm_frequency < MAX_PWM_FREQ) {
													channels[uiState.channelFlag].pwm_frequency += 1;  // 增加PWM频率
											}
											else
													channels[uiState.channelFlag].pwm_frequency = MIN_PWM_FREQ;  // 增加PWM频率
									}
									else if (uiState.settingFlag == 4) {
											if (channels[uiState.channelFlag].pwm_duty_cycle < MAX_DUTY) {
													channels[uiState.channelFlag].pwm_duty_cycle += 1;  // 增加PWM占空�??
											}
											else
													channels[uiState.channelFlag].pwm_duty_cycle = MIN_DUTY;  // 增加PWM占空�??
									}
									else if (uiState.settingFlag == 5) {
										if(channels[uiState.channelFlag].mode){
													channels[uiState.channelFlag].full_scale_V += 1;
										}
										else{
													channels[uiState.channelFlag].full_scale_A += 1;
										}
									}
									else if (uiState.settingFlag == 6) {  // 零点偏移
										if(channels[uiState.channelFlag].mode){
											if (channels[uiState.channelFlag].zero_offset_V < MAX_ZERO_OFFSET)
												channels[uiState.channelFlag].zero_offset_V += 1;
											else
												channels[uiState.channelFlag].zero_offset_V = MIN_ZERO_OFFSET;
										}
										else{
											if (channels[uiState.channelFlag].zero_offset_A < MAX_ZERO_OFFSET)
												channels[uiState.channelFlag].zero_offset_A += 1;
											else
												channels[uiState.channelFlag].zero_offset_A = MIN_ZERO_OFFSET;
										}
									}
								}
								 else{
									if(uiState.settingFlag == 0)
										uiState.settingFlag = 6;  // 改为6
									else uiState.settingFlag -= 1;
								 }
							}
							else{
								if(uiState.channelFlag == 0)
									uiState.channelFlag = 3;
								else uiState.channelFlag -= 1;
							}
							key_state1 = 0;
						}
            key_state1 = 0;
            key_press_time1 = 0;
        }
    }

    // KEY2 按键处理：减少当前设置项的�??
    if (HAL_GPIO_ReadPin(KEY2_GPIO_Port, KEY2_Pin) == GPIO_PIN_SET) {
        if (key_state2 == 0) {
            key_state2 = 1;
            key_press_time2 = 0;
        } else {
            key_press_time2++;
						// 校准页面长按处理
						if (key_press_time2 >= LONG_PRESS_TIME && inCalibPage) {
							if (calibInputValue >= GetLongPressStep(key_press_time2, 1, 5)) calibInputValue -= GetLongPressStep(key_press_time2, 1, 5);
							else calibInputValue = 0;
						}
						else if (key_press_time2 >= LONG_PRESS_TIME && uiState.isSettingFlag) {
							if (uiState.settingFlag == 2) {  // 电流/电压值
									if (channels[uiState.channelFlag].mode == 0) {  // 电流模式
											if (channels[uiState.channelFlag].current_value < GetLongPressStep(key_press_time2, 1, 5)) {
													channels[uiState.channelFlag].current_value = MAX_CURRENT;
											}
											else{
													channels[uiState.channelFlag].current_value -= GetLongPressStep(key_press_time2, 1, 5);
											}
									} else {  // 电压模式
											if (channels[uiState.channelFlag].voltage_value < GetLongPressStep(key_press_time2, 1, 5)) {
												channels[uiState.channelFlag].voltage_value = MAX_VOLTAGE;
											}
											else{
													channels[uiState.channelFlag].voltage_value -= GetLongPressStep(key_press_time2, 1, 5);
											}
									}
							} else if (uiState.settingFlag == 3) {  // PWM频率
									if (channels[uiState.channelFlag].pwm_frequency > GetLongPressStep(key_press_time2, 1, 5)) {
											channels[uiState.channelFlag].pwm_frequency -= GetLongPressStep(key_press_time2, 1, 5);  // 减少PWM频率
									}
									else
											channels[uiState.channelFlag].pwm_frequency = MAX_PWM_FREQ;  // 减少PWM频率
							} else if (uiState.settingFlag == 4) {  // PWM占空�??
									if (channels[uiState.channelFlag].pwm_duty_cycle >= GetLongPressStep(key_press_time2, 1, 5)) {
											channels[uiState.channelFlag].pwm_duty_cycle -= GetLongPressStep(key_press_time2, 1, 5);  // 减少PWM占空�??
									}
									else
										channels[uiState.channelFlag].pwm_duty_cycle = MAX_DUTY;
							} else if (uiState.settingFlag == 5) {
										if(channels[uiState.channelFlag].mode){
											if (channels[uiState.channelFlag].full_scale_V >= GetLongPressStep(key_press_time2, 10, 50))
													channels[uiState.channelFlag].full_scale_V -= GetLongPressStep(key_press_time2, 10, 50);
											else
													channels[uiState.channelFlag].full_scale_V = 0;
										}
										else{
											if (channels[uiState.channelFlag].full_scale_A >= GetLongPressStep(key_press_time2, 10, 50))
													channels[uiState.channelFlag].full_scale_A -= GetLongPressStep(key_press_time2, 10, 50);
											else
													channels[uiState.channelFlag].full_scale_A = 0;
										}
									}
									else if (uiState.settingFlag == 6) {  // 零点偏移
										if(channels[uiState.channelFlag].mode){
											if (channels[uiState.channelFlag].zero_offset_V >= GetLongPressStep(key_press_time2, 10, 50))
												channels[uiState.channelFlag].zero_offset_V -= GetLongPressStep(key_press_time2, 10, 50);
											else
												channels[uiState.channelFlag].zero_offset_V = MIN_ZERO_OFFSET;
										}
										else{
											if (channels[uiState.channelFlag].zero_offset_A >= GetLongPressStep(key_press_time2, 10, 50))
												channels[uiState.channelFlag].zero_offset_A -= GetLongPressStep(key_press_time2, 10, 50);
											else
												channels[uiState.channelFlag].zero_offset_A = MIN_ZERO_OFFSET;
										}
									}
            }
        }
    } else {
        if (key_state2 == 1) {
            if (key_press_time2 < LONG_PRESS_TIME) {
							// 校准页面短按处理
							if(inCalibPage) {
								if (calibInputValue > 0) calibInputValue -= 1;
							}
							else if(uiState.inSettingsPage){
								if(uiState.isSettingFlag){
                // 根据当前设置项调整值
									if(uiState.settingFlag == 1){
										channels[uiState.channelFlag].mode = !channels[uiState.channelFlag].mode;
									}
									else if (uiState.settingFlag == 2) {
										if (channels[uiState.channelFlag].mode == 0) {  // 电流模式
												if (channels[uiState.channelFlag].current_value == MIN_CURRENT) {
														channels[uiState.channelFlag].current_value = MAX_CURRENT;
												}
												else{
														channels[uiState.channelFlag].current_value -= 1;
												}
										} else {  // 电压模式
												if (channels[uiState.channelFlag].voltage_value == MIN_VOLTAGE) {
													channels[uiState.channelFlag].voltage_value = MAX_VOLTAGE;
												}
												else{
														channels[uiState.channelFlag].voltage_value -= 1;
												}
										}
									} else if (uiState.settingFlag == 3) {
											if (channels[uiState.channelFlag].pwm_frequency > 1)
													channels[uiState.channelFlag].pwm_frequency -= 1;  // 减少PWM频率
											else
													channels[uiState.channelFlag].pwm_frequency = MAX_PWM_FREQ;  // 减少PWM频率
									} else if (uiState.settingFlag == 4) {
											if (channels[uiState.channelFlag].pwm_duty_cycle > 0)
													channels[uiState.channelFlag].pwm_duty_cycle -= 1;  // 减少PWM占空�??
											else
												channels[uiState.channelFlag].pwm_duty_cycle = MAX_DUTY;
									} else if (uiState.settingFlag == 5) {
										if(channels[uiState.channelFlag].mode){
											if (channels[uiState.channelFlag].full_scale_V > 0)
													channels[uiState.channelFlag].full_scale_V -= 1;
										}
										else{
											if (channels[uiState.channelFlag].full_scale_A > 0)
													channels[uiState.channelFlag].full_scale_A -= 1;
										}
									}
									else if (uiState.settingFlag == 6) {  // 零点偏移
										if(channels[uiState.channelFlag].mode){
											if (channels[uiState.channelFlag].zero_offset_V > MIN_ZERO_OFFSET)
												channels[uiState.channelFlag].zero_offset_V -= 1;
											else
												channels[uiState.channelFlag].zero_offset_V = MAX_ZERO_OFFSET;
										}
										else{
											if (channels[uiState.channelFlag].zero_offset_A > MIN_ZERO_OFFSET)
												channels[uiState.channelFlag].zero_offset_A -= 1;
											else
												channels[uiState.channelFlag].zero_offset_A = MAX_ZERO_OFFSET;
										}
									}
								}
								else{
									uiState.settingFlag += 1;
									if(uiState.settingFlag > 6)  // 改为6
										uiState.settingFlag = 0;
								}
            }
							else{
								uiState.channelFlag += 1;
								if(uiState.channelFlag == 4)
									uiState.channelFlag = 0;
							}
            key_state2 = 0;
					}
            key_state2 = 0;
            key_press_time2 = 0;
        }
    }

    // KEY3 按键处理：切换高亮设置项
    if (HAL_GPIO_ReadPin(KEY3_GPIO_Port, KEY3_Pin) == GPIO_PIN_SET) {
        if (key_state3 == 0) {
            key_state3 = 1;
            key_press_time3 = 0;
        } else {
            key_press_time3++;
        }
    }
		else {
				if (key_state3 == 1) {
							// 校准页面的按键处理
							if(inCalibPage) {
								// 保存当前校准点的输入值
								multiCalibData[uiState.channelFlag][calibPointIndex] = calibInputValue;

								// 进入下一个校准点
								calibPointIndex++;
								if(calibPointIndex >= CALIB_POINTS_NUM) {
									// 校准完成，启用多点校准并保存
									multiCalibEnabled[uiState.channelFlag] = 1;
									SaveCalibrationToFlash();
									setMode();
									setCurrent();
									// 退出校准页面
									inCalibPage = 0;
									calibPointIndex = 0;
								} else {
									// 输出下一个校准点，显示上次记录的actual值
									calibInputValue = multiCalibData[uiState.channelFlag][calibPointIndex];
									outputCalibPoint(calibPointIndex);
								}
							}
							else if(uiState.inSettingsPage){
										if(uiState.settingFlag == 0){
												uiState.isSettingFlag = 0;
												uiState.inSettingsPage = 0;
										}
										else if(uiState.settingFlag == 5 && channels[uiState.channelFlag].mode == 0){
											// 电流模式下进入多点校准页面
											inCalibPage = 1;
											calibPointIndex = 0;
											// 显示上次记录的actual值（如果有），否则显示目标值
											calibInputValue = multiCalibData[uiState.channelFlag][0];
											// 设置为电流模式并输出第一个校准点
											buffer[0] = 0x01;
											buffer[1] = 0x24;
											HAL_I2C_Master_Transmit(&hi2c1, (0x58 + uiState.channelFlag) << 1, buffer, 2, HAL_MAX_DELAY);
											outputCalibPoint(0);
										}
										else if(uiState.settingFlag == 5 && channels[uiState.channelFlag].mode == 1){
											// 电压模式下的满量程校准
											setFullScaleCompensation();
										}
									if(uiState.isSettingFlag){
										if(uiState.settingFlag == 1){
												setMode();
										}
										else if(uiState.settingFlag == 2){
												if(channels[uiState.channelFlag].mode){
													setVoltage();
												}
												else{
													setCurrent();
												}
										}
										else if(uiState.settingFlag == 3){
											setPWMFrequency();
										}
										else if(uiState.settingFlag == 4){
											setPWMDutyCycle();
										}
										else if(uiState.settingFlag == 5){
											if(channels[uiState.channelFlag].mode) {
												setVoltage();
												SaveCalibrationToFlash();
											}
											// 电流模式下settingFlag==5是进入校准页面，不在这里处理
										}
										else if(uiState.settingFlag == 6){  // 零点偏移确认时应用
											if(channels[uiState.channelFlag].mode) {
												setVoltage();
												SaveCalibrationToFlash();
											}
										}
									}
									if(!(uiState.settingFlag == 5 && channels[uiState.channelFlag].mode == 0)) {
										uiState.isSettingFlag = !uiState.isSettingFlag;
									}
							}
							else{
									uiState.inSettingsPage = 1;
									uiState.isSettingFlag = 0;
							}
								key_state3 = 0;
				}
		}
}

void SaveCalibrationToFlash(void) {
    CalibrationData_t calData = {0};
    for (uint8_t i = 0; i < 4; i++) {
        SanitizeMultiCalibChannel(i);
        calData.channels[i].full_scale_A = channels[i].full_scale_A;
        calData.channels[i].full_scale_V = channels[i].full_scale_V;
        calData.channels[i].zero_offset_A = channels[i].zero_offset_A;
        calData.channels[i].zero_offset_V = channels[i].zero_offset_V;
        // 保存多点校准数据
        for (uint8_t j = 0; j < CALIB_POINTS_NUM; j++) {
            calData.multi_calib[i].measured[j] = multiCalibData[i][j];
        }
        calData.multi_calib[i].enabled = multiCalibEnabled[i];
        calData.multi_calib[i].reserved = 0;
    }
    calData.device_id = deviceID;
    calData.reserved = 0;
    Flash_SaveCalibration(&calData);
}

void LoadCalibrationFromFlash(void) {
    CalibrationData_t calData;
    if (Flash_LoadCalibration(&calData) == HAL_OK) {
        // 数据有效，加载到通道结构体
        for (uint8_t i = 0; i < 4; i++) {
            channels[i].full_scale_A = calData.channels[i].full_scale_A;
            channels[i].full_scale_V = calData.channels[i].full_scale_V;
            channels[i].zero_offset_A = calData.channels[i].zero_offset_A;
            channels[i].zero_offset_V = calData.channels[i].zero_offset_V;
            // 加载多点校准数据
        for (uint8_t j = 0; j < CALIB_POINTS_NUM; j++) {
            multiCalibData[i][j] = calData.multi_calib[i].measured[j];
        }
        SanitizeMultiCalibChannel(i);
        multiCalibEnabled[i] = calData.multi_calib[i].enabled;
    }
        // 加载设备ID
        if (calData.device_id > 0 && calData.device_id <= MAX_DEVICE_ID) {
            deviceID = calData.device_id;
        }
    } else {
        // 数据无效，初始化多点校准数据为默认值
        initMultiCalibData();
    }
}

void Check_I2C_Devices(void)
{
    for (uint8_t i = 0; i < 4; i++) {
        channels[i].status = 0;
			if(HAL_I2C_IsDeviceReady(&hi2c1, (0x58 + i) << 1, 2, 10) == HAL_OK) {
        channels[i].status = 1;
				buffer[0] = 0x01;           // 控制命令地址
				buffer[1] = 0x24;           // 命令高位
				HAL_I2C_Master_Transmit(&hi2c1, (0x58 + i) << 1, buffer, 2, HAL_MAX_DELAY);
				buffer[0] = 0x02;           // 控制命令地址
				buffer[1] = 0x00;
				buffer[2] = 0x00;
				HAL_I2C_Master_Transmit(&hi2c1, (0x58 + i) << 1, buffer, 3, HAL_MAX_DELAY);
        }
    }
}

void SetGP(void) {
    // 限制�??大�?�，避免 A[channelFlag] 超过 400
    if (A[channelFlag] > 400) {
        A[channelFlag] = 400;
    }

    uint16_t data = (uint16_t)(((float)A[channelFlag] / (float)C[channelFlag]) * 0xFFFF);

    // 发�?�第�??条指�??
    uint8_t buffer1[3];
    buffer1[0] = 0x01;           // 控制命令地址
    buffer1[1] = 0x24;           // 命令高位

    HAL_I2C_Master_Transmit(&hi2c1, (0x58 + channelFlag) << 1, buffer1, 2, HAL_MAX_DELAY);

    // 发�?�第二条指令：带数据部分
    uint8_t buffer2[3];
    buffer2[0] = 0x02;               // 控制命令地址
    buffer2[1] = data & 0xFF;        // DATA Low
    buffer2[2] = (data >> 8) & 0xFF; // DATA High

    HAL_I2C_Master_Transmit(&hi2c1, (0x58 + channelFlag) << 1, buffer2, 3, HAL_MAX_DELAY);
}
/* USER CODE END 4 */

void Error_Handler(void)
{
  __disable_irq();
  while (1)
  {
  }
}
